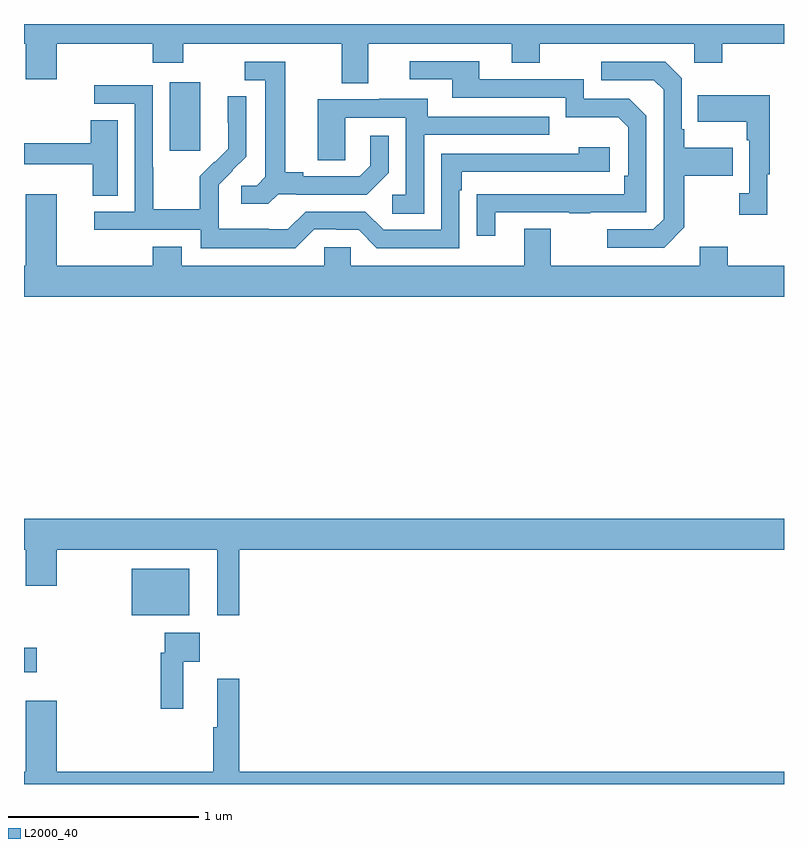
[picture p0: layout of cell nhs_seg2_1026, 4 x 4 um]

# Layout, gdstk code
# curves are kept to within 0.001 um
import gdstk
lib = gdstk.Library(unit=1e-6, precision=1e-09)
def R(c, l, rs):  # rectangles x0, y0, x1, y1
    for r in rs: c.add(gdstk.rectangle(r[:2], r[2:], *l))
def P(c, l, *ps):  # polygons
    for p in ps: c.add(gdstk.Polygon(p, *l))
L2000_40 = (2000, 40)

nhs_seg2_1026 = lib.new_cell('nhs_seg2_1026')
R(nhs_seg2_1026, L2000_40, [(165,584.387,165.067,584.517), (165.566,584.687,165.871,584.932), (165.767,587.133,165.928,587.494)])
P(nhs_seg2_1026, L2000_40, [(166.813,587.696),(167.567,587.696),(167.567,587.597),(167.715,587.597),(167.715,587.696),(168.528,587.696),(168.528,587.597),(168.675,587.597),(168.675,587.696),(169,587.696),(169,587.8),(165,587.8),(165,587.696),(165.008,587.696),(165.008,587.508),(165.172,587.508),(165.172,587.696),(165.677,587.696),(165.677,587.597),(165.837,587.597),(165.837,587.696),(166.673,587.696),(166.673,587.488),(166.813,587.488)],
  [(167.479,586.809),(167.869,586.809),(167.869,586.804),(167.981,586.804),(167.981,586.809),(168.276,586.809),(168.276,587.316),(168.186,587.406),(167.946,587.406),(167.946,587.508),(167.395,587.508),(167.395,587.604),(167.031,587.604),(167.031,587.508),(167.255,587.508),(167.255,587.412),(167.85,587.412),(167.85,587.309),(168.127,587.309),(168.18,587.256),(168.18,587.002),(168.16,587.002),(168.16,586.905),(167.383,586.904),(167.383,586.686),(167.479,586.686)],
  [(166.338,586.905),(166.432,586.905),(166.432,586.902),(166.804,586.902),(166.92,587.018),(166.92,587.212),(166.823,587.212),(166.823,587.055),(166.766,586.998),(166.471,586.998),(166.471,587.021),(166.375,587.021),(166.375,587.601),(166.161,587.601),(166.161,587.505),(166.271,587.505),(166.271,586.997),(166.224,586.95),(166.143,586.95),(166.143,586.853),(166.286,586.853)],
  [(168.475,586.729),(168.475,587.002),(168.731,587.002),(168.731,587.149),(168.475,587.149),(168.475,587.245),(168.462,587.245),(168.462,587.514),(168.375,587.601),(168.039,587.601),(168.039,587.505),(168.315,587.505),(168.366,587.454),(168.366,586.773),(168.312,586.719),(168.069,586.719),(168.069,586.623),(168.369,586.623)],
  [(166.527,586.719),(166.643,586.719),(166.643,586.716),(166.761,586.716),(166.857,586.62),(167.292,586.62),(167.292,586.925),(167.305,586.925),(167.305,587.022),(168.082,587.022),(168.082,587.152),(167.921,587.152),(167.921,587.118),(167.196,587.118),(167.196,586.716),(166.893,586.716),(166.797,586.812),(166.482,586.812),(166.389,586.719),(166.289,586.719),(166.289,586.723),(166.026,586.723),(166.026,586.857),(166.024,586.857),(166.024,586.954),(166.17,587.102),(166.17,587.42),(166.073,587.42),(166.073,587.279),(166.076,587.279),(166.076,587.144),(166.005,587.073),(166.002,587.076),(165.925,586.999),(165.925,586.825),(165.681,586.825),(165.681,587.045),(165.678,587.045),(165.678,587.478),(165.369,587.478),(165.369,587.379),(165.582,587.379),(165.582,586.812),(165.369,586.812),(165.369,586.716),(165.93,586.716),(165.93,586.619),(166.427,586.619)],
  [(168.913,587.009),(168.925,587.009),(168.925,587.425),(168.547,587.425),(168.547,587.285),(168.804,587.285),(168.804,587.189),(168.816,587.189),(168.816,586.91),(168.765,586.91),(168.765,586.797),(168.913,586.797)],
  [(167.106,587.217),(167.765,587.217),(167.765,587.313),(167.125,587.313),(167.125,587.407),(166.871,587.407),(166.871,587.403),(166.547,587.403),(166.547,587.083),(166.692,587.083),(166.692,587.307),(167.01,587.307),(167.01,586.902),(166.938,586.902),(166.938,586.801),(167.106,586.801)],
  [(165.493,587.294),(165.35,587.294),(165.35,587.173),(165,587.173),(165,587.063),(165.362,587.063),(165.362,586.897),(165.493,586.897)],
  [(169,586.528),(168.705,586.528),(168.705,586.627),(168.557,586.627),(168.557,586.528),(167.773,586.528),(167.773,586.723),(167.633,586.723),(167.633,586.528),(166.719,586.528),(166.719,586.626),(166.581,586.626),(166.581,586.528),(165.829,586.528),(165.829,586.627),(165.677,586.627),(165.677,586.528),(165.172,586.528),(165.172,586.903),(165.008,586.903),(165.008,586.528),(165,586.528),(165,586.364),(169,586.364)],
  [(166.133,585.032),(169,585.032),(169,585.196),(165,585.196),(165,585.032),(165.008,585.032),(165.008,584.844),(165.172,584.844),(165.172,585.032),(166.016,585.032),(166.016,584.688),(166.133,584.688)],
  [(165.839,584.444),(165.925,584.444),(165.925,584.596),(165.741,584.596),(165.741,584.492),(165.721,584.492),(165.721,584.196),(165.839,584.196)],
  [(169,583.864),(166.133,583.864),(166.133,584.353),(166.016,584.353),(166.016,584.1),(165.997,584.1),(165.997,583.864),(165.172,583.864),(165.172,584.239),(165.008,584.239),(165.008,583.864),(165,583.864),(165,583.8),(169,583.8)])

lib.write_gds('nhs_seg2_1026.gds')
